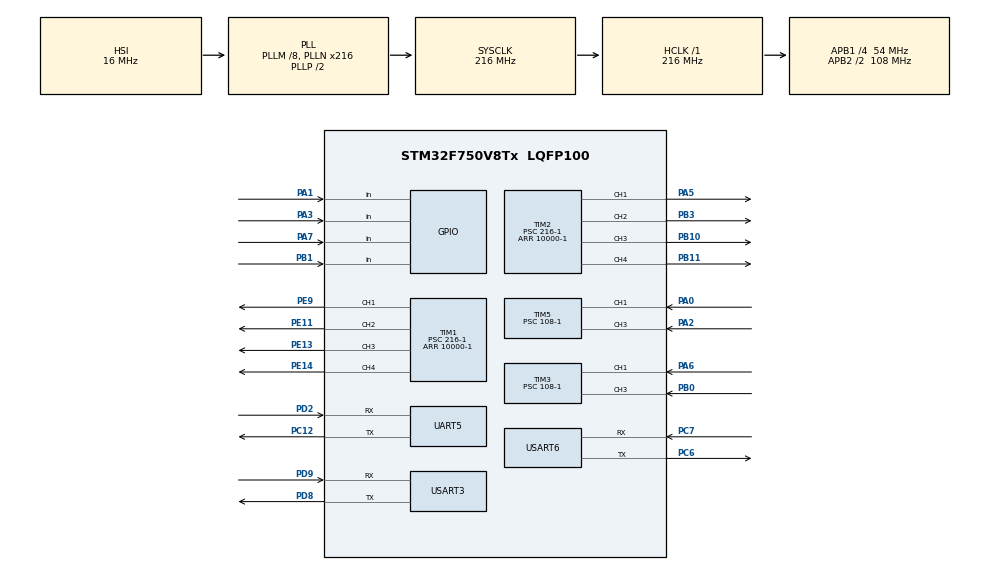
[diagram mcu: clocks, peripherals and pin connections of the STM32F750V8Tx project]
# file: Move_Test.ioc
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Mcu.Family=STM32F7
Mcu.Name=STM32F750V8Tx
Mcu.Package=LQFP100
NVIC.PriorityGroup=NVIC_PRIORITYGROUP_4
NVIC.TIM3_IRQn=true\:0\:0\:false\:false\:true\:true\:true\:true
NVIC.TIM5_IRQn=true\:0\:0\:false\:false\:true\:true\:true\:true
PA0/WKUP.Signal=S_TIM5_CH1
PA1.GPIO_PuPd=GPIO_PULLDOWN
PA1.Signal=GPIO_Input
PA2.Signal=S_TIM5_CH3
PA3.GPIO_PuPd=GPIO_PULLDOWN
PA3.Signal=GPIO_Input
PA5.Signal=S_TIM2_CH1_ETR
PA6.Signal=S_TIM3_CH1
PA7.GPIO_PuPd=GPIO_PULLDOWN
PA7.Signal=GPIO_Input
PB0.Signal=S_TIM3_CH3
PB1.GPIO_PuPd=GPIO_PULLDOWN
PB1.Signal=GPIO_Input
PB10.Signal=S_TIM2_CH3
PB11.Signal=S_TIM2_CH4
PB3.Signal=S_TIM2_CH2
PC12.Mode=Asynchronous
PC12.Signal=UART5_TX
PC6.Mode=Asynchronous
PC6.Signal=USART6_TX
PC7.Mode=Asynchronous
PC7.Signal=USART6_RX
PD2.Mode=Asynchronous
PD2.Signal=UART5_RX
PD8.Mode=Asynchronous
PD8.Signal=USART3_TX
PD9.Mode=Asynchronous
PD9.Signal=USART3_RX
PE11.Signal=S_TIM1_CH2
PE13.Signal=S_TIM1_CH3
PE14.Signal=S_TIM1_CH4
PE9.Signal=S_TIM1_CH1
PH0/OSC_IN.Mode=HSE-External-Oscillator
PH0/OSC_IN.Signal=RCC_OSC_IN
PH1/OSC_OUT.Mode=HSE-External-Oscillator
PH1/OSC_OUT.Signal=RCC_OSC_OUT
ProjectManager.HeapSize=0x200
ProjectManager.StackSize=0x400
ProjectManager.TargetToolchain=MDK-ARM V5.32
RCC.AHBFreq_Value=216000000
RCC.APB1CLKDivider=RCC_HCLK_DIV4
RCC.APB1Freq_Value=54000000
RCC.APB1TimFreq_Value=108000000
RCC.APB2CLKDivider=RCC_HCLK_DIV2
RCC.APB2Freq_Value=108000000
RCC.APB2TimFreq_Value=216000000
RCC.CortexFreq_Value=216000000
RCC.HCLKFreq_Value=216000000
RCC.HSE_VALUE=25000000
RCC.HSI_VALUE=16000000
RCC.LSE_VALUE=32768
RCC.PLLM=8
RCC.PLLN=216
RCC.SYSCLKFreq_VALUE=216000000
RCC.SYSCLKSource=RCC_SYSCLKSOURCE_PLLCLK
RCC.USBFreq_Value=216000000
RCC.VCOOutputFreq_Value=432000000
SH.S_TIM1_CH1.0=TIM1_CH1,PWM Generation1 CH1
SH.S_TIM1_CH2.0=TIM1_CH2,PWM Generation2 CH2
SH.S_TIM1_CH3.0=TIM1_CH3,PWM Generation3 CH3
SH.S_TIM1_CH4.0=TIM1_CH4,PWM Generation4 CH4
SH.S_TIM2_CH1_ETR.0=TIM2_CH1,PWM Generation1 CH1
SH.S_TIM2_CH2.0=TIM2_CH2,PWM Generation2 CH2
SH.S_TIM2_CH3.0=TIM2_CH3,PWM Generation3 CH3
SH.S_TIM2_CH4.0=TIM2_CH4,PWM Generation4 CH4
SH.S_TIM3_CH1.0=TIM3_CH1,Input_Capture1_from_TI1
SH.S_TIM3_CH3.0=TIM3_CH3,Input_Capture3_from_TI3
SH.S_TIM5_CH1.0=TIM5_CH1,Input_Capture1_from_TI1
SH.S_TIM5_CH3.0=TIM5_CH3,Input_Capture3_from_TI3
TIM1.Channel-PWM\ Generation1\ CH1=TIM_CHANNEL_1
TIM1.Channel-PWM\ Generation2\ CH2=TIM_CHANNEL_2
TIM1.Channel-PWM\ Generation3\ CH3=TIM_CHANNEL_3
TIM1.Channel-PWM\ Generation4\ CH4=TIM_CHANNEL_4
TIM1.Period=10000-1
TIM1.Prescaler=216-1
TIM2.Channel-PWM\ Generation1\ CH1=TIM_CHANNEL_1
TIM2.Channel-PWM\ Generation2\ CH2=TIM_CHANNEL_2
TIM2.Channel-PWM\ Generation3\ CH3=TIM_CHANNEL_3
TIM2.Channel-PWM\ Generation4\ CH4=TIM_CHANNEL_4
TIM2.Period=10000-1
TIM2.Prescaler=216-1
TIM3.Channel-Input_Capture1_from_TI1=TIM_CHANNEL_1
TIM3.Channel-Input_Capture3_from_TI3=TIM_CHANNEL_3
TIM3.Prescaler=108-1
TIM5.Channel-Input_Capture1_from_TI1=TIM_CHANNEL_1
TIM5.Channel-Input_Capture3_from_TI3=TIM_CHANNEL_3
TIM5.Period=65535
TIM5.Prescaler=108-1
TIM6.AutoReloadPreload=TIM_AUTORELOAD_PRELOAD_ENABLE
TIM6.Period=10000
TIM6.Prescaler=108-1
USART3.VirtualMode-Asynchronous=VM_ASYNC
USART6.VirtualMode=VM_ASYNC
VP_TIM6_VS_ClockSourceINT.Mode=Enable_Timer
board=custom

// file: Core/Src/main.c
/* USER CODE BEGIN Header */
/**
  ******************************************************************************
  * @file           : main.c
  * @brief          : Main program body
  ******************************************************************************
  * @attention
  *
  * Copyright (c) 2023 STMicroelectronics.
  * All rights reserved.
  *
  * This software is licensed under terms that can be found in the LICENSE file
  * in the root directory of this software component.
  * If no LICENSE file comes with this software, it is provided AS-IS.
  *
  ******************************************************************************
  */
/* USER CODE END Header */
#include "main.h"
#include "tim.h"
#include "usart.h"
#include "gpio.h"

/* USER CODE BEGIN Includes */
#include "wheel_config.h"
#include "wheel.h"
#include "wheel_task.h"
/* USER CODE END Includes */

/* USER CODE BEGIN PV */
extern motor_t motor1;
extern motor_t motor2;
extern motor_t motor3;
extern motor_t motor4;

extern	pid_data_t motor1_pid_data;
extern	pid_data_t motor2_pid_data;
extern	pid_data_t motor3_pid_data;
extern	pid_data_t motor4_pid_data;

/* USER CODE END PV */

void SystemClock_Config(void);

int main(void)
{

  /* MCU Configuration--------------------------------------------------------*/

  /* Reset of all peripherals, Initializes the Flash interface and the Systick. */
  HAL_Init();

  /* Configure the system clock */
  SystemClock_Config();

  /* Initialize all configured peripherals */
  MX_GPIO_Init();
  MX_TIM1_Init();
  MX_TIM2_Init();
  MX_TIM3_Init();
  MX_TIM5_Init();
  MX_TIM6_Init();
  MX_USART3_UART_Init();
  MX_UART5_Init();
  MX_USART6_UART_Init();
  /* USER CODE BEGIN 2 */
  motor_pid_data_init(&motor1_pid_data);
  motor_pid_data_init(&motor2_pid_data);
  motor_pid_data_init(&motor3_pid_data);
  motor_pid_data_init(&motor4_pid_data);

  motor1_Enable(&motor1);
  motor2_Enable(&motor2);
  motor3_Enable(&motor3);
  motor4_Enable(&motor4);
  set_chassis_speed (0,0,0);
  /* USER CODE END 2 */

  /* Infinite loop */
  /* USER CODE BEGIN WHILE */
  while (1)
  {
	  chassis_synthetic_control();
//	  HAL_Delay (50);
    /* USER CODE END WHILE */

  }
}

void SystemClock_Config(void)
{
  RCC_OscInitTypeDef RCC_OscInitStruct = {0};
  RCC_ClkInitTypeDef RCC_ClkInitStruct = {0};

  /** Configure the main internal regulator output voltage
  */
  __HAL_RCC_PWR_CLK_ENABLE();
  __HAL_PWR_VOLTAGESCALING_CONFIG(PWR_REGULATOR_VOLTAGE_SCALE1);

  /** Initializes the RCC Oscillators according to the specified parameters
  * in the RCC_OscInitTypeDef structure.
  */
  RCC_OscInitStruct.OscillatorType = RCC_OSCILLATORTYPE_HSI;
  RCC_OscInitStruct.HSIState = RCC_HSI_ON;
  RCC_OscInitStruct.HSICalibrationValue = RCC_HSICALIBRATION_DEFAULT;
  RCC_OscInitStruct.PLL.PLLState = RCC_PLL_ON;
  RCC_OscInitStruct.PLL.PLLSource = RCC_PLLSOURCE_HSI;
  RCC_OscInitStruct.PLL.PLLM = 8;
  RCC_OscInitStruct.PLL.PLLN = 216;
  RCC_OscInitStruct.PLL.PLLP = RCC_PLLP_DIV2;
  RCC_OscInitStruct.PLL.PLLQ = 2;
  if (HAL_RCC_OscConfig(&RCC_OscInitStruct) != HAL_OK)
  {
    Error_Handler();
  }

  /** Activate the Over-Drive mode
  */
  if (HAL_PWREx_EnableOverDrive() != HAL_OK)
  {
    Error_Handler();
  }

  /** Initializes the CPU, AHB and APB buses clocks
  */
  RCC_ClkInitStruct.ClockType = RCC_CLOCKTYPE_HCLK|RCC_CLOCKTYPE_SYSCLK
                              |RCC_CLOCKTYPE_PCLK1|RCC_CLOCKTYPE_PCLK2;
  RCC_ClkInitStruct.SYSCLKSource = RCC_SYSCLKSOURCE_PLLCLK;
  RCC_ClkInitStruct.AHBCLKDivider = RCC_SYSCLK_DIV1;
  RCC_ClkInitStruct.APB1CLKDivider = RCC_HCLK_DIV4;
  RCC_ClkInitStruct.APB2CLKDivider = RCC_HCLK_DIV2;

  if (HAL_RCC_ClockConfig(&RCC_ClkInitStruct, FLASH_LATENCY_7) != HAL_OK)
  {
    Error_Handler();
  }
}

/* USER CODE BEGIN 4 */

//void HAL_TIM_IC_CaptureCallback(TIM_HandleTypeDef *htim)
//{
//	if(htim->Instance == TIM6)
//	{
//		chassis_synthetic_control();
//	}
//}

/* USER CODE END 4 */

void Error_Handler(void)
{
  __disable_irq();
  while (1)
  {
  }
}
